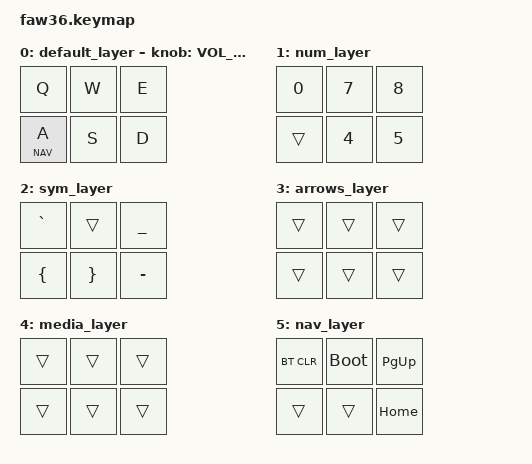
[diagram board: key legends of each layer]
/*
 * Copyright (c) 2020 The ZMK Contributors
 *
 * SPDX-License-Identifier: MIT
 */

#include <behaviors.dtsi>
#include <dt-bindings/zmk/keys.h>
#include <dt-bindings/zmk/bt.h>

#define QWERTY 0
#define NUM 1
#define SYM 2
#define ARROWS 3
#define MEDIA 4
#define NAV 5

&mt {
    tapping-term-ms = <300>;
    flavor = "tap-preferred";
};

/ {
    keymap {
        compatible = "zmk,keymap";

        default_layer {
/* Qwerty
 * ,----------------------------------.        ,----------------------------------.
 * |   Q  |   W  |   E  |   R  |   T  |        |   Y  |   U  |   I  |   O  |   P  |
 * |------+------+------+------+------|        |------+------+------+------+------|
 * |   A  |   S  |   D  |   F  |   G  |        |   H  |   J  |   K  |   L  |   ;  |
 * |------+------+------+------+------|        |------+------+------+------+------|
 * |   Z  |   X  |   C  |   V  |   B  |        |   N  |   M  |   ,  |   .  |   /  |
 * `-------------+------+------+------|        |------+------+------+-------------'
 *               |F_SYM |F_NUM | Space|        | Bspc |F_ARR |F_MED |
 *               `--------------------'        `--------------------'
 */
                        bindings = <
    &kp Q       &kp W       &kp E
    &lt NAV A   &kp S       &kp D
                >;
            sensor-bindings = <&inc_dec_kp C_VOL_DN C_VOL_UP &inc_dec_kp PG_UP PG_DN>;
        };
        num_layer {
/* Numbers
 * ,----------------------------------.        ,----------------------------------.
 * |   0  |   7  |   8  |   9  |RESET |        |  F1  |  F2  |  F3  |  F4  |  F5  |
 * |------+------+------+------+------|        |------+------+------+------+------|
 * |      |   4  |   5  |   6  |   =  |        |  F6  |  F7  |  F8  |  F9  |  F10 |
 * |------+------+------+------+------|        |------+------+------+------+------|
 * |      |   1  |   2  |   3  |   -  |        |  F11 | AF12 |      |      |      |
 * `-------------+------+------+------|        |------+------+------+-------------'
 *               |   .  |      |      |        |      |      |      |
 *               `--------------------'        `--------------------'
*/
                        bindings = <
    &kp N0 &kp N7 &kp N8
    &trans &kp N4 &kp N5
                >;
        };
        sym_layer {
/* Symbols
 * ,----------------------------------.        ,----------------------------------.
 * |   `  |      |   _  |   +  |   \  |        |      |      |      |      |      |
 * |------+------+------+------+------|        |------+------+------+------+------|
 * |   {  |   }  |   -  |   =  |      |        |      |      |      |      |      |
 * |------+------+------+------+------|        |------+------+------+------+------|
 * |   [  |   ]  |   (  |   )  |      |        |      |      |      |      |      |
 * `-------------+------+------+------|        |------+------+------+-------------'
 *               |      |      |      |        |      |      |      |
 *               `--------------------'        `--------------------'
 */
                        bindings = <
    &kp GRAVE  &trans   &kp UNDER
    &kp LBRC   &kp RBRC &kp MINUS
                >;
        };
        arrows_layer {
/* Arrows
 * ,----------------------------------.        ,----------------------------------.
 * |      |      |      |      |      |        |      |      |  Up  |      |      |
 * |------+------+------+------+------|        |------+------+------+------+------|
 * |      |      |      |      |      |        |      | Left | Down | Right|   '  |
 * |------+------+------+------+------|        |------+------+------+------+------|
 * |      |      |      |      |      |        |      |      |      |      |      |
 * `-------------+------+------+------|        |------+------+------+-------------'
 *               |      |      |      |        |      |      |      |
 *               `--------------------'        `--------------------'
 */
                        bindings = <
    &trans &trans &trans
    &trans &trans &trans
                >;
        };
        media_layer {
/* Media
 * ,----------------------------------.        ,----------------------------------.
 * |      |      |      |      |      |        |RESET |      |      |      |      |
 * |------+------+------+------+------|        |------+------+------+------+------|
 * |      |      |      |      |      |        |BT_CLR|      |PTrack| Vol+ |NTrack|
 * |------+------+------+------+------|        |------+------+------+------+------|
 * |      |      |      |      |      |        |      |      | Prev | Vol- | Next |
 * `-------------+------+------+------|        |------+------+------+-------------'
 *               |      |      |      |        | Play | Mute |      |
 *               `--------------------'        `--------------------'
 */
                        bindings = <
    &trans &trans &trans
    &trans &trans &trans
                >;
        };
        nav_layer {
/* Navigation
 * ,----------------------------------.        ,----------------------------------.
 * |BT_CLR| BOOT | PgUp | PgDn | Pscr |        |      |      |      |      |      |
 * |------+------+------+------+------|        |------+------+------+------+------|
 * |      |      | Home |  End | Paus |        |      |      |      |      |      |
 * |------+------+------+------+------|        |------+------+------+------+------|
 * |      |      | Ins  |  Del | Slck |        |      |      |      |      |      |
 * `-------------+------+------+------|        |------+------+------+-------------'
 *               |      |      |      |        |      |      |      |
 *               `--------------------'        `--------------------'
 */
                        bindings = <
    &bt BT_CLR &bootloader &kp PG_UP
    &trans     &trans      &kp HOME
                >;
        };
    };
};
